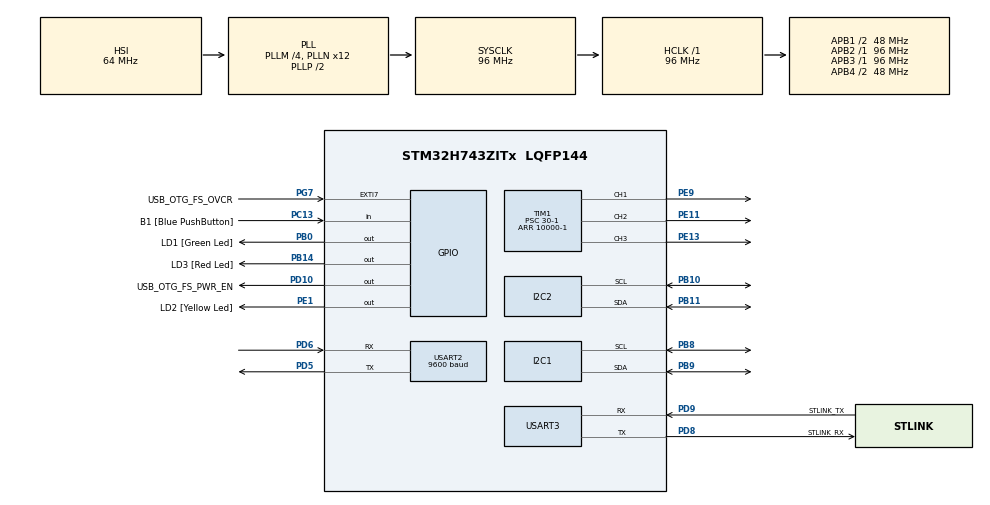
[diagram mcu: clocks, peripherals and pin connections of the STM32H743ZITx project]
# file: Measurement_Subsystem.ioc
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I2C1.Speed=100
I2C1.Timing=0x20303E5D
I2C2.Timing=0x20303E5D
Mcu.Family=STM32H7
Mcu.Name=STM32H743ZITx
Mcu.Package=LQFP144
NVIC.PriorityGroup=NVIC_PRIORITYGROUP_4
NVIC.TIM16_IRQn=true\:0\:0\:false\:false\:true\:true\:true\:true
NVIC.USART2_IRQn=true\:0\:0\:false\:false\:true\:true\:true\:true
PA1.Signal=ETH_REF_CLK
PA11.Signal=USB_OTG_FS_DM
PA12.Signal=USB_OTG_FS_DP
PA13\ (JTMS/SWDIO).GPIO_Label=JTMS
PA13\ (JTMS/SWDIO).Signal=DEBUG_JTMS-SWDIO
PA14\ (JTCK/SWCLK).GPIO_Label=JTCK
PA14\ (JTCK/SWCLK).Signal=DEBUG_JTCK-SWCLK
PA2.Signal=ETH_MDIO
PA7.Signal=ETH_CRS_DV
PA8.Signal=USB_OTG_FS_SOF
PA9.Signal=USB_OTG_FS_VBUS
PB0.GPIO_Label=LD1 [Green Led]
PB0.Signal=GPIO_Output
PB10.Mode=I2C
PB10.Signal=I2C2_SCL
PB11.Mode=I2C
PB11.Signal=I2C2_SDA
PB13.Signal=ETH_TXD1
PB14.GPIO_Label=LD3 [Red Led]
PB14.Signal=GPIO_Output
PB8.Mode=I2C
PB8.Signal=I2C1_SCL
PB9.Mode=I2C
PB9.Signal=I2C1_SDA
PC1.Signal=ETH_MDC
PC13.GPIO_Label=B1 [Blue PushButton]
PC13.Signal=GPIO_Input
PC14-OSC32_IN\ (OSC32_IN).Signal=RCC_OSC32_IN
PC15-OSC32_OUT\ (OSC32_OUT).Signal=RCC_OSC32_OUT
PC4.Signal=ETH_RXD0
PC5.Signal=ETH_RXD1
PD10.GPIO_Label=USB_OTG_FS_PWR_EN
PD10.Signal=GPIO_Output
PD12.Signal=I2C4_SCL
PD13.Signal=I2C4_SDA
PD5.Mode=Asynchronous
PD5.Signal=USART2_TX
PD6.Mode=Asynchronous
PD6.Signal=USART2_RX
PD8.GPIO_Label=STLINK_RX
PD8.Mode=Asynchronous
PD8.Signal=USART3_TX
PD9.GPIO_Label=STLINK_TX
PD9.Mode=Asynchronous
PD9.Signal=USART3_RX
PE1.GPIO_Label=LD2 [Yellow Led]
PE1.Signal=GPIO_Output
PE11.Signal=S_TIM1_CH2
PE13.Signal=S_TIM1_CH3
PE9.Signal=S_TIM1_CH1
PG11.Signal=ETH_TX_EN
PG13.Signal=ETH_TXD0
PG7.GPIO_Label=USB_OTG_FS_OVCR
PG7.Signal=GPXTI7
PH0-OSC_IN\ (PH0).Signal=RCC_OSC_IN
PH1-OSC_OUT\ (PH1).Signal=RCC_OSC_OUT
ProjectManager.HeapSize=0x200
ProjectManager.StackSize=0x400
ProjectManager.TargetToolchain=STM32CubeIDE
RCC.ADCFreq_Value=129000000
RCC.APB1Freq_Value=48000000
RCC.APB2Freq_Value=96000000
RCC.APB3Freq_Value=96000000
RCC.APB4Freq_Value=48000000
RCC.CortexFreq_Value=96000000
RCC.D2PPRE1=RCC_APB1_DIV2
RCC.D3PPRE=RCC_APB4_DIV2
RCC.DIVM1=4
RCC.DIVN1=12
RCC.HCLKFreq_Value=96000000
RCC.PLL2FRACN=0
RCC.PLL3FRACN=0
RCC.PLLFRACN=0
RCC.SYSCLKFreq_VALUE=96000000
RCC.SYSCLKSource=RCC_SYSCLKSOURCE_PLLCLK
RCC.USBFreq_Value=96000000
SH.S_TIM1_CH1.0=TIM1_CH1,PWM Generation1 CH1
SH.S_TIM1_CH2.0=TIM1_CH2,PWM Generation2 CH2
SH.S_TIM1_CH3.0=TIM1_CH3,PWM Generation3 CH3
TIM1.Channel-PWM\ Generation1\ CH1=TIM_CHANNEL_1
TIM1.Channel-PWM\ Generation2\ CH2=TIM_CHANNEL_2
TIM1.Channel-PWM\ Generation3\ CH3=TIM_CHANNEL_3
TIM1.Period=10000-1
TIM1.Prescaler=30-1
TIM16.Period=100-1
TIM16.Prescaler=9600-1
TIM17.Period=65536-1
TIM17.Prescaler=9600-1
TIM2.Period=10000-1
TIM2.Prescaler=96-1
USART2.BaudRate=9600
USART2.VirtualMode-Asynchronous=VM_ASYNC
USART3.VirtualMode-Asynchronous=VM_ASYNC
VP_TIM16_VS_ClockSourceINT.Mode=Enable_Timer
VP_TIM17_VS_ClockSourceINT.Mode=Enable_Timer
VP_TIM2_VS_ClockSourceINT.Mode=Internal
board=NUCLEO-H743ZI2

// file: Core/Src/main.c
/* USER CODE BEGIN Header */
/**
  ******************************************************************************
  * @file           : main.c
  * @brief          : Main program body
  ******************************************************************************
  * @attention
  *
  * Copyright (c) 2024 STMicroelectronics.
  * All rights reserved.
  *
  * This software is licensed under terms that can be found in the LICENSE file
  * in the root directory of this software component.
  * If no LICENSE file comes with this software, it is provided AS-IS.
  *
  ******************************************************************************
  */
/* USER CODE END Header */
#include "main.h"
#include "i2c.h"
#include "tim.h"
#include "usart.h"
#include "gpio.h"

/* USER CODE BEGIN Includes */
#include <string.h>
#include <stdio.h>
#include "LSM6DSOX.h" // for accelerometer and gyroscope sensor 0 -> on car
#include <math.h>
#include <stdlib.h>
/* USER CODE END Includes */

/* USER CODE BEGIN PV */
#define PI 3.141592654
#define g 9.807
float deg_to_rad = PI/180;
float rad_to_deg = 180/PI;

// Timer delays --------------------------------------------------------------
uint32_t PWM_counter = 0; // Timer 16
uint32_t prev_timer_val = 0; // Timer 17
uint32_t curr_timer_val = 0;
uint32_t timer_diff = 0;

// IMU variables -------------------------------------------------------------
float vals[6] = {0}; // IMU_1
float x_accIMU1 = 0;
float y_accIMU1 = 0;
float z_accIMU1 = 0;
float x_gyroIMU1 = 0;
float y_gyroIMU1 = 0;
float z_gyroIMU1 = 0;

float x_accIMU2 = 0;
float y_accIMU2 = 0;
float z_accIMU2 = 0;
float x_gyroIMU2 = 0;
float y_gyroIMU2 = 0;
float z_gyroIMU2 = 0;

// Filter variables ------------------------------------------------------------
// Initialization Magdwick
const float constantBiasRoll = 0; //1.0640; // deg/s
const float constantBiasPitch = 0; //0.8084; // deg/s
const float constantBiasYaw = 0; //1.1199; // deg/s

//float beta = 0.8660*(0.1)*(PI/180);  // <- maximum gyro error around 1 degree
const float beta = 0.5; //0.041; //0.164;
const float gravity = -9.807;

const float alpha = 0.96;
float prev_IMU1[3] = {0, 0, 0};
float prev_IMU2[3] = {0, 0, 0};

float theta_xIMU1 = 0;
float phi_yIMU1 = 0;
float psi_zIMU1 = 0;

float theta_xIMU2 = 0;
float phi_yIMU2 = 0;
float psi_zIMU2 = 0;

// Arrays
float A[3] = {0, 0, 0}; // Acceleration
float G[4] = {0, 0, 0, 0}; // Gyroscope
float Q[4] = {1, 0, 0, 0};

float attitude[3] = {0, 0, 0};
float F[3] = {0, 0, 0};
float J_1[3] = {0, 0, 0};
float J_2[3] = {0, 0, 0};
float J_3[3] = {0, 0, 0};
float J_4[3] = {0, 0, 0};
float step[4] = {0, 0, 0, 0};

float Q_int[4] = {0, 0, 0, 0}; // New Quaternion after integration
float qDot[4] = {0, 0, 0, 0}; // Multiplied
float car_forces[3] = {0, 0, 0};

volatile float car_roll_ySP = 0;
volatile float car_pitch_xSP = 0;
volatile float cup_roll_ySP = 0;
volatile float cup_pitch_xSP = 0;

float x_force = 0;
float y_force = 0;
float z_force = 0;

float car_pitch_xSP_copy = 0;
float car_roll_ySP_copy = 0;
float cup_pitch_xSP_copy = 0;
float cup_roll_ySP_copy = 0;

float cup_x_response = 0.0;
float cup_y_response = 0.0;

int flag_v1 = 0; // check if first round values are in yet

// PID variables -------------------------------------------------------------
float error_prev[2] = {0, 0};
float error[2] = {0, 0};
float integral[2] = {0, 0};
float derivative[2] = {0, 0};
float PID_output[2] = {0, 0};
float PID_output_prev[2] = {0, 0};
float alpha_f[2] = {0.18, 0.18}; // 0 <= a <= 1

// Adaptive PID ----------------------------------------------------------------
float prev_xSP = 0;
float prev_ySP = 0;
float delta_x = 0;
float delta_y = 0;

float KP_mid[2] = {5, 10}; // for alpha = 2.5
float KI_mid[2] = {0.7, 0.6};
float KD_mid[2] = {0.07, 0.08};

float KP[2] = {5, 5}; // for alpha = 2.5
float KI[2] = {0.5, 0.5};
float KD[2] = {0.05, 0.05};

// PP Controlller -------------------------------------------
float pitch_x_curr = 0.0;  // n_current = (0, 0, h) -> initial normal of system
float roll_y_curr = 0.0;
float alpha_PP[2] = {0.2, 0.2}; // 0 <= a <= 1
float PP[2] = {0, 0};
float K[2] = {-422.8500, 2.8640};
float Kdc = 0.5;

// Inverse Kinematics --------------------------------------------------------
const float r = 9; // cm -> rad plate = rad base
const float h = 13.2;
const float L1 = 15;
const float L2 = 7;

float A_p[3] = {0, 0, 0};
float B_p[3] = {0, 0, 0};
float C_p[3] = {0, 0, 0};

float A_r[3] = {0, 0, 0};
float B_r[3] = {0, 0, 0};
float C_r[3] = {0, 0, 0};

float A_mid = 0;
float B_mid = 0;
float C_mid = 0;
float D_mid = 0;
float E_mid = 0;
float angle = 0;

// Calculate norm -------------------------------------------------------------
float n_body[3] = {0, 0, 0};
float global[3] = {0, 0, 13.2}; // origin of plate
float n_m1[3] = {0, 0, 0};
float n_m2[3] = {0, 0, 0};
float n_m3[3] = {0, 0, 0};

int pitch_flag = 0; // for +ve and -ve pitch rotations
int roll_flag = 0; // for +ve and -ve roll rotations

// Actuate Motors ------------------------------------------------------------
float motorAngle[3] = {0, 0, 0};
float currentAngle[3] = {30, 30, 30}; // motors start at 25 degrees for initial position
float angleKin[3] = {0, 0, 0};
int PWMangle[3] = {2668, 2668, 2668}; //starting at 30 degrees

float angle_start = 30; // starting angle at 30 degrees from -13.729 degrees from horizon
float angle_prev[3] = {30, 30, 30};

// Blutooth module
uint8_t rxData[1];
float txData[6] = {0, 0, 0, 0, 0, 0}; // <- float = 4 bytes x 6 -> 24 bytes
int rxFlag = 0;
float PID_p_tx = 0;
float PID_r_tx = 0;

/* USER CODE END PV */

void SystemClock_Config(void);
/* USER CODE BEGIN PFP */
#ifdef __GNUC__
#define PUTCHAR_PROTOTYPE int __io_putchar(int ch)
#else
#define PUTCHAR_PROTOTYPE int fputc(int ch, FILE *f)
#endif

PUTCHAR_PROTOTYPE
{
  HAL_UART_Transmit(&huart3, (uint8_t *)&ch, 1, HAL_MAX_DELAY);
  return ch;
}

// My Functions
void CF_IMU1(float, float, float, float, float, float);
void CF_IMU2(float, float, float, float, float, float);
void OrientationEst1(void);
void OrientationEst2(void);
//void Transmit_CF_PC(void);
//void Magdwick(void);
//void Transmit_Mag_PC(void);

void PID(void);
void ActuateMotors(float, float);
float InvKinematics(int, float, float);
int FindPWM(float);
void CalcTime(void);
void GainScheduling(void);
//void PPController(void);

/* USER CODE END PFP */

int main(void)
{

  /* MCU Configuration--------------------------------------------------------*/

  /* Reset of all peripherals, Initializes the Flash interface and the Systick. */
  HAL_Init();

  /* Configure the system clock */
  SystemClock_Config();

  /* Initialize all configured peripherals */
  MX_GPIO_Init();
  MX_TIM2_Init();
  MX_TIM1_Init();
  MX_TIM16_Init();
  MX_TIM17_Init();
  MX_I2C2_Init();
  MX_I2C1_Init();
  MX_USART2_UART_Init();
  MX_USART3_UART_Init();
  /* USER CODE BEGIN 2 */
// Bluetooth module
  HAL_UART_Receive_IT(&huart2, (uint8_t*)rxData, 1); // enable ISR
  HAL_UART_Transmit_IT(&huart2, (uint8_t*)txData, 4*sizeof(txData)); // enabling interrupt transmit

  // IMU modules 1 and 2
  InitAccel_IMU1();
  InitAccel_IMU2();
  InitGyro_IMU1();
  InitGyro_IMU2();

  // Motors
  HAL_TIM_PWM_Start(&htim1, TIM_CHANNEL_1);
  HAL_TIM_PWM_Start(&htim1, TIM_CHANNEL_2);
  HAL_TIM_PWM_Start(&htim1, TIM_CHANNEL_3);

  // Initialise motors to 0
  __HAL_TIM_SET_COMPARE(&htim1, TIM_CHANNEL_1, 1600); // 0 degrees
  __HAL_TIM_SET_COMPARE(&htim1, TIM_CHANNEL_2, 1600); // 0 degrees
  __HAL_TIM_SET_COMPARE(&htim1, TIM_CHANNEL_3, 1600); // 0 degrees
  HAL_Delay(1000);

  // Initialise motors to 25 degrees if not at 25 already
  __HAL_TIM_SET_COMPARE(&htim1, TIM_CHANNEL_1, 2490); // 25 degrees
  __HAL_TIM_SET_COMPARE(&htim1, TIM_CHANNEL_2, 2490); // 25 degrees
  __HAL_TIM_SET_COMPARE(&htim1, TIM_CHANNEL_3, 2490); // 25 degrees
  HAL_Delay(1000);

  // Start timers
  HAL_TIM_Base_Start_IT(&htim16); // starts interrupt PWM timer
  HAL_TIM_Base_Start(&htim17); // starts integral counter

// Set PWM for each channel -> set motors all to 25 degrees
  PWM_counter = 0; // set PWMcounter for loop = 0
  /* USER CODE END 2 */

  /* Infinite loop */
  /* USER CODE BEGIN WHILE */

  while (1)
  {
	  // check if data has been received to start transmission via Blutooth
	  if (rxData[0] == 's'){
		  rxFlag = 1;
	  }
	  if (rxFlag == 1){
		  uint8_t *data = (uint8_t*)&txData;
		  HAL_UART_Transmit_IT(&huart2, data, 6*sizeof(float));
	  }

	  // Atomic block to access ISR variable
	  // Update variables
	  car_pitch_xSP_copy = car_pitch_xSP;
	  car_roll_ySP_copy = car_roll_ySP;
	  x_force = x_accIMU2;
	  y_force = y_accIMU2;
//	  Transmit_CF_PC();

	  car_pitch_xSP_copy = 4*car_pitch_xSP_copy;
	  car_roll_ySP_copy = 4*car_roll_ySP_copy;

	  GainScheduling();
	  PID();
    /* USER CODE END WHILE */

  }
}

void SystemClock_Config(void)
{
  RCC_OscInitTypeDef RCC_OscInitStruct = {0};
  RCC_ClkInitTypeDef RCC_ClkInitStruct = {0};

  /** Supply configuration update enable
  */
  HAL_PWREx_ConfigSupply(PWR_LDO_SUPPLY);

  /** Configure the main internal regulator output voltage
  */
  __HAL_PWR_VOLTAGESCALING_CONFIG(PWR_REGULATOR_VOLTAGE_SCALE3);

  while(!__HAL_PWR_GET_FLAG(PWR_FLAG_VOSRDY)) {}

  /** Initializes the RCC Oscillators according to the specified parameters
  * in the RCC_OscInitTypeDef structure.
  */
  RCC_OscInitStruct.OscillatorType = RCC_OSCILLATORTYPE_HSI;
  RCC_OscInitStruct.HSIState = RCC_HSI_DIV1;
  RCC_OscInitStruct.HSICalibrationValue = RCC_HSICALIBRATION_DEFAULT;
  RCC_OscInitStruct.PLL.PLLState = RCC_PLL_ON;
  RCC_OscInitStruct.PLL.PLLSource = RCC_PLLSOURCE_HSI;
  RCC_OscInitStruct.PLL.PLLM = 4;
  RCC_OscInitStruct.PLL.PLLN = 12;
  RCC_OscInitStruct.PLL.PLLP = 2;
  RCC_OscInitStruct.PLL.PLLQ = 2;
  RCC_OscInitStruct.PLL.PLLR = 2;
  RCC_OscInitStruct.PLL.PLLRGE = RCC_PLL1VCIRANGE_3;
  RCC_OscInitStruct.PLL.PLLVCOSEL = RCC_PLL1VCOWIDE;
  RCC_OscInitStruct.PLL.PLLFRACN = 0;
  if (HAL_RCC_OscConfig(&RCC_OscInitStruct) != HAL_OK)
  {
    Error_Handler();
  }

  /** Initializes the CPU, AHB and APB buses clocks
  */
  RCC_ClkInitStruct.ClockType = RCC_CLOCKTYPE_HCLK|RCC_CLOCKTYPE_SYSCLK
                              |RCC_CLOCKTYPE_PCLK1|RCC_CLOCKTYPE_PCLK2
                              |RCC_CLOCKTYPE_D3PCLK1|RCC_CLOCKTYPE_D1PCLK1;
  RCC_ClkInitStruct.SYSCLKSource = RCC_SYSCLKSOURCE_PLLCLK;
  RCC_ClkInitStruct.SYSCLKDivider = RCC_SYSCLK_DIV1;
  RCC_ClkInitStruct.AHBCLKDivider = RCC_HCLK_DIV1;
  RCC_ClkInitStruct.APB3CLKDivider = RCC_APB3_DIV1;
  RCC_ClkInitStruct.APB1CLKDivider = RCC_APB1_DIV2;
  RCC_ClkInitStruct.APB2CLKDivider = RCC_APB2_DIV1;
  RCC_ClkInitStruct.APB4CLKDivider = RCC_APB4_DIV2;

  if (HAL_RCC_ClockConfig(&RCC_ClkInitStruct, FLASH_LATENCY_2) != HAL_OK)
  {
    Error_Handler();
  }
}

/* USER CODE BEGIN 4 */
// Controller code functions --------------------------------------------------------------------
void GainScheduling(){
	delta_x = sqrt(car_pitch_xSP_copy*car_pitch_xSP_copy) - sqrt(prev_xSP*prev_xSP);
	delta_y = sqrt(car_roll_ySP_copy*car_roll_ySP_copy) - sqrt(prev_ySP*prev_ySP);

	delta_x = sqrt(delta_x*delta_x);
	delta_y = sqrt(delta_y*delta_y);
	for (int i = 0; i < 2; i++){
		if(i == 0){
			KP[i] = KP_mid[i];
//			if (delta_x < 2) { // Gain scheduling for bigger errors
//				KP[i] = 0.8*KP_mid[i];
//			}
//			else if ((delta_x >= 2) && (delta_x < 4)){ // Gain scheduling for bigger errors
//				KP[i] = 1.1*KP_mid[i];
//			}
//			else if ((delta_x >= 4) && (delta_x < 6)){ // Gain scheduling for bigger errors
//				KP[i] = 1.3*KP_mid[i];
//			}
//			else if ((delta_x >= 6) && (delta_x < 8)){ // Gain scheduling for bigger errors
//				KP[i] = 1.5*KP_mid[i];
//			}
//			else if ((delta_x >= 8) && (delta_x < 10)){ // Gain scheduling for bigger errors
//				KP[i] = 1.7*KP_mid[i];
//			}
//			else if (delta_x >= 10){
//				KP[i] = 1.9*KP_mid[i];
//			}
		}
		if(i == 1){
			KP[i] = KP_mid[i];

//			if (delta_y < 2) { // Gain scheduling for bigger errors
//				KP[i] = 0.8*KP_mid[i];
//			}
//			else if ((delta_y >= 2) && (delta_y < 4)){ // Gain scheduling for bigger errors
//				KP[i] = 1.1*KP_mid[i];
//			}
//			else if ((delta_y >= 4) && (delta_y < 6)){ // Gain scheduling for bigger errors
//				KP[i] = 1.3*KP_mid[i];
//			}
//			else if ((delta_y >= 6) && (delta_y < 8)){ // Gain scheduling for bigger errors
//				KP[i] = 1.5*KP_mid[i];
//			}
//			else if ((delta_y >= 8) && (delta_y < 10)){ // Gain scheduling for bigger errors
//				KP[i] = 1.7*KP_mid[i];
//			}
//			else if (delta_y>= 10){
//				KP[i] = 1.9*KP_mid[i];
//			}
		}
	}
}

void PID(){
	// Becomes new setpoint for platform // Control system tracks changes roll and pitch
	for (int i = 0; i < 2; i++){
		error_prev[i] = error[i];
		if (i == 0){
			error[i] = car_pitch_xSP_copy - pitch_x_curr; // angle error in x
		}
		if (i == 1){
			error[i] = car_roll_ySP_copy - roll_y_curr; // angle error in y
		}

		if (isnan(error[i])){
			error[i] = 0;
		}

		CalcTime();
		integral[i] += error[i]*((float)timer_diff/10000);
		derivative[i] = (error[i] - error_prev[i])/((float)timer_diff/10000);
		PID_output[i] = KP[i]*error[i] + KI[i]*integral[i] + KD[i]*derivative[i];

		// Account for NAN
		if (isnan(PID_output[i])){
			PID_output[i] = 0;
		}

		// Smoothing filter for motors
		PID_output[i] = (alpha_f[i]*PID_output[i]) + (1.0 - alpha_f[i])*PID_output_prev[i];

		// Update values
		PID_output_prev[i] = PID_output[i];
	}
	PID_p_tx = PID_output[0]; // pitch
	PID_r_tx = PID_output[1];

	// Check if angle error -ve
	if (PID_output[0] < 0){
		PID_output[0] = -PID_output[0]; // make positive
		pitch_flag = 1; // negative error
	}

	if (PID_output[1] < 0){
			PID_output[1] = -PID_output[1]; // make positive
			roll_flag = 1;
	}

	ActuateMotors(PID_output[0], PID_output[1]); // angle setpoint
	// Then need to compare outputs
	// update current position of cup

	cup_pitch_xSP_copy = cup_pitch_xSP;
	cup_roll_ySP_copy = cup_roll_ySP;

//	pitch_x_curr = cup_pitch_xSP_copy;
//	roll_y_curr = cup_roll_ySP_copy;

	// Update PID current values
	pitch_x_curr = car_pitch_xSP_copy;
	roll_y_curr = car_roll_ySP_copy;

	// update FF controller
	prev_xSP = car_pitch_xSP_copy;
	prev_ySP = car_roll_ySP_copy;

	PWM_counter = 0;
}

// Subfunctions of PID ---------------------------------------------------------
void ActuateMotors(float x_angle, float y_angle){
	// Testing
//	x_angle = 30;
//	y_angle = 30;

	// Convert to degrees
	x_angle = x_angle*deg_to_rad;
	y_angle = y_angle*deg_to_rad;

	if (isnan(x_angle)){ // check for error
		x_angle = 0;
	}

	if (isnan(y_angle)){ // check for error
		y_angle = 0;
	}

	// Cap max angles
	if (x_angle > 62){
		x_angle = 62;
	}
	if (y_angle > 65){
		y_angle = 65;
	}

	for(int i = 0; i < 3; i ++){
		angleKin[i] = InvKinematics(i, x_angle, y_angle); // return positive angle
		if (i == 0){ // Motor 1 -> pitch motor (+x, 0)
			if (pitch_flag == 1){ // pitch -ve
				motorAngle[0] = currentAngle[0] + angleKin[0]; // - for control
				pitch_flag = 0; // reset pitch flag
//				currentAngle[0] = motorAngle[0]; // new angle set point
			}
			else { // pitch +ve
				motorAngle[0] = currentAngle[0] - angleKin[0]; // + fr control
//				currentAngle[0] = motorAngle[0];
			}
		}

		if (i == 1){ // Motor 2 -> roll motor (-x, -y)
			if (roll_flag == 1){ // roll -ve
				motorAngle[1] = currentAngle[1] - angleKin[1]; // -> opposite motor 3 // + for control
//				currentAngle[1] = motorAngle[1];
			}
			else { // pitch +ve
				motorAngle[1] = currentAngle[1] + angleKin[1]; // - for control
//				currentAngle[1] = motorAngle[1];
			}
		}

		if (i == 2){ // Motor 3 -> roll motor (-x, +y)
			if (roll_flag == 1){ // roll -ve
				motorAngle[2] = currentAngle[2] + angleKin[2]; // -> opposite motor 2
				roll_flag = 0; // reset roll flag
//				currentAngle[2] = motorAngle[2];
			}
			else { // pitch +ve
				motorAngle[2] = currentAngle[2] - angleKin[2];
//				currentAngle[2] = motorAngle[2];
			}
		}
		// theta[i] = 0.05*motorAngle[i] + 0.95*angle_prev[i]; // cubic equation
		//angle_prev[i] = theta[i];

		PWMangle[i] = FindPWM(motorAngle[i]);
		if (PWMangle[i] < 1650){ // min
			PWMangle[i] = 1650; // make 0
		}

		if (PWMangle[i] > 4626){ // max
			PWMangle[i] = 4626; // make 88
		}
	}

	// Set PWM for each channel
	// computeSpeed -> do accel calcs
	// save starting time

	while (PWM_counter < 9){
		__HAL_TIM_SET_COMPARE(&htim1, TIM_CHANNEL_1, PWMangle[0]); // PE9 -> Motor 1
		__HAL_TIM_SET_COMPARE(&htim1, TIM_CHANNEL_2, PWMangle[1]); // PE11 -> Motor 2
		__HAL_TIM_SET_COMPARE(&htim1, TIM_CHANNEL_3, PWMangle[2]); // PE13 -> Motor 3
	}
}

// starting angle = 30 -> 2668
// maximum angle = 85 -> 4626
// minimum angle = 0 -> 1600
int FindPWM(float angle_in){
	return (int)(1600 + angle_in*35.6); // conversion to PWM with 320 Hz and 180 degree range
}

float InvKinematics(int motor, float theta_pitch, float phi_roll){
	// Calculate inverse kinematics equations here

	// Roll-pitch-roll transform
	// float psi_yaw = 0;
	// body[0] = global[0]*cos(psi_yaw)*cos(theta_pitch) + global[1]*sin(psi_yaw)*cos(theta_pitch) - global[2]*sin(theta_pitch);
	// body[1] = global[1]*(cos(psi_yaw)*sin(theta_pitch)*sin(phi_roll) - sin(psi_yaw)*cos(phi_roll)) + global[1]*(sin(psi_yaw)*sin(theta_pitch)*sin(phi_roll) + cos(psi_yaw)*cos(phi_roll)) + global[2]*cos(theta_pitch)*sin(phi_roll);
	// body[2] = global[2]*(cos(psi_yaw)*sin(theta_pitch)*sin(phi_roll) + sin(psi_yaw)*sin(phi_roll)) + global[1]*(sin(psi_yaw)*sin(theta_pitch)*cos(phi_roll) - cos(psi_yaw)*sin(phi_roll)) + global[2]*cos(theta_pitch)*cos(phi_roll);

	switch(motor){
		case 0:
			// Motor 1 -> pitch
			// Calc norm
			n_m1[0] = global[0]*cos(theta_pitch) - global[2]*sin(theta_pitch);
			n_m1[1] = 0;
			n_m1[2] = global[0]*sin(theta_pitch) + global[2]*cos(theta_pitch);

			// Find leg orientation in space ito x, y, z
			A_p[0] = r*n_m1[2]/sqrt(n_m1[0]*n_m1[0] + n_m1[2]*n_m1[2]);
			A_p[2] = h - (n_m1[0]*r)/sqrt(n_m1[2]*n_m1[2] + n_m1[0]*n_m1[0]);
			A_p[1] = 0;

			// Find orientation of revolute joint between 2 legs in space
			A_mid = (r - A_p[0])/A_p[2];
			B_mid = (A_p[0]*A_p[0] + A_p[2]*A_p[2] + L2*L2 - L1*L1 - r*r)/(2*A_p[2]);
			C_mid = A_mid*A_mid + 1;
			D_mid = 2*(A_mid*B_mid - r);
			E_mid = B_mid*B_mid + r*r - L2*L2;

			A_r[0] = (-D_mid + sqrt(D_mid*D_mid - 4*C_mid*E_mid))/(2*C_mid);
			A_r[1] = 0;
			A_r[2] = sqrt(L2*L2 - A_r[0]*A_r[0] + 2*A_r[0]*r - r*r);

			// Find angle to be rotated by servos
			angle = atan(A_r[2]/(A_r[0]-r))*rad_to_deg;
			if (isnan(angle)){ // check for error
				angle = 90;
			}

			break;

		case 1:
			// Motor 2 -> roll 1
			n_m2[0] = global[0];
			n_m2[1] = global[1]*cos(phi_roll/2) + global[2]*sin(phi_roll);
			n_m2[2] = -global[1]*sin(phi_roll/2) + global[2]*cos(phi_roll);

			B_p[0] = -(r*n_m2[2])/(sqrt(n_m2[0]*n_m2[0] + 3*n_m2[1]*n_m2[1] + 4*n_m2[2]*n_m2[2] + 2*sqrt(3)*n_m2[0]*n_m2[1]));
			B_p[1] = -(sqrt(3)*r*n_m2[2])/(sqrt(n_m2[0]*n_m2[0] + 3*n_m2[1]*n_m2[1] + 4*n_m2[2]*n_m2[2] + 2*sqrt(3)*n_m2[0]*n_m2[1]));
			B_p[2] = h + (r*(sqrt(3)*n_m2[1] + n_m2[0])/(sqrt(n_m2[0]*n_m2[0] + 3*n_m2[1]*n_m2[1] + 4*n_m2[2]*n_m2[2] + 2*sqrt(3)*n_m2[0]*n_m2[1])));

			A_mid = -(B_p[0] + sqrt(3)*B_p[1] + 2*r)/B_p[2];
			B_mid = (B_p[0]*B_p[0] + B_p[1]*B_p[1] + B_p[2]*B_p[2] + L2*L2 - L1*L1 - r*r)/(2*B_p[2]);
			C_mid = A_mid*A_mid + 4;
			D_mid = 2*A_mid*B_mid + 4*r;
			E_mid = B_mid*B_mid - L2*L2 + r*r;

			B_r[0] = (-D_mid - sqrt(D_mid*D_mid - 4*C_mid*E_mid))/(2*C_mid);
			B_r[1] = sqrt(3)*B_r[0];
			B_r[2] = sqrt(L2*L2 - 4*r*B_r[0] - 4*B_r[0]*B_r[0] - r*r);

			angle = atan(B_r[2]/(sqrt(B_r[0]*B_r[0] + B_r[1]*B_r[1]) - r))*rad_to_deg;
			if (isnan(angle)){
				angle = 90;
			}

			angle = angle/2;
			break;

		case 2:
			// Motor 3 -> roll 2
			n_m3[0] = global[0];
			n_m3[1] = global[1]*cos(phi_roll/2) + global[2]*sin(phi_roll);
			n_m3[2] = -global[1]*sin(phi_roll/2) + global[2]*cos(phi_roll);

			C_p[0] = -(r*n_m3[2])/(sqrt(n_m3[0]*n_m3[0] + 3*n_m3[1]*n_m3[1] + 4*n_m3[2]*n_m3[2] - 2*sqrt(3)*n_m3[0]*n_m3[1]));
			C_p[1] = (sqrt(3)*r*n_m3[2])/(sqrt(n_m3[0]*n_m3[0] + 3*n_m3[1]*n_m3[1] + 4*n_m3[2]*n_m3[2] - 2*sqrt(3)*n_m3[0]*n_m3[1]));
			C_p[2] = h - (r*(-sqrt(3)*n_m3[1] + n_m3[0])/(sqrt(n_m3[0]*n_m3[0] + 3*n_m3[1]*n_m3[1] + 4*n_m3[2]*n_m3[2] - 2*sqrt(3)*n_m3[0]*n_m3[1])));

			A_mid = -(C_p[0] - sqrt(3)*C_p[1] + 2*r)/C_p[2];
			B_mid = (C_p[0]*C_p[0] + C_p[1]*C_p[1] + C_p[2]*C_p[2] + L2*L2 - L1*L1 - r*r)/(2*C_p[2]);
			C_mid = A_mid*A_mid + 4;
			D_mid = 2*A_mid*B_mid + 4*r;
			E_mid = B_mid*B_mid - L2*L2 + r*r;

			C_r[0] = (-D_mid - sqrt(D_mid*D_mid - 4*C_mid*E_mid))/(2*C_mid);
			C_r[1] = -sqrt(3)*C_r[0];
			C_r[2] = sqrt(L2*L2 - 4*r*C_r[0] - 4*C_r[0]*C_r[0] - r*r);

			angle = atan(C_r[2]/(sqrt(C_r[0]*C_r[0] + C_r[1]*C_r[1]) - r))*rad_to_deg;
			if (isnan(angle)){
				angle = 90;
			}

			angle = angle/2;
			break;

		default: // in case of an error
			angle = 0;
			break;
	}
	return angle;
}

void CF_IMU1(float x_a1, float y_a1, float z_a1, float x_g1, float y_g1, float z_g1){
	A[0] = atan((y_a1*gravity)/(z_a1*gravity));
	A[1] = atan((-x_a1*gravity)/sqrt(pow((y_a1*gravity), 2) + pow((z_a1*gravity), 2)));
	A[2] = 0; // g

	G[0] = prev_IMU1[0] + ((x_g1*(deg_to_rad))/416); // /416
	G[1] = prev_IMU1[1] + ((y_g1*(deg_to_rad))/416);
	G[2] = prev_IMU1[2] + ((z_g1*(deg_to_rad))/416);

	theta_xIMU1 = alpha*G[0] + (1-alpha)*A[0];
	phi_yIMU1 = alpha*G[1] + (1-alpha)*A[1];
	psi_zIMU1 = alpha*G[2] + (1-alpha)*A[2];

	prev_IMU1[0] = theta_xIMU1;
	prev_IMU1[1] = phi_yIMU1;
	prev_IMU1[2] = psi_zIMU1;
}

void CF_IMU2(float x_a2, float y_a2, float z_a2, float x_g2, float y_g2, float z_g2){
	A[0] = atan((y_a2*gravity)/(z_a2*gravity));
	A[1] = atan((-x_a2*gravity)/sqrt(pow((y_a2*gravity), 2) + pow((z_a2*gravity), 2)));
	A[2] = 0; // g

	G[0] = prev_IMU2[0] + ((x_g2*(deg_to_rad))/416);
	G[1] = prev_IMU2[1] + ((y_g2*(deg_to_rad))/416);
	G[2] = prev_IMU2[2] + ((z_g2*(deg_to_rad))/416);

	theta_xIMU2 = alpha*G[0] + (1-alpha)*A[0];
	phi_yIMU2 = alpha*G[1] + (1-alpha)*A[1];
	psi_zIMU2 = alpha*G[2] + (1-alpha)*A[2];

	prev_IMU2[0] = theta_xIMU2;
	prev_IMU2[1] = phi_yIMU2;
	prev_IMU2[2] = psi_zIMU2;
}

void OrientationEst1(){
	LSM6DSOX_readIMU1(vals); // get values from LSM6DSOX gyro and accel <- cup
	x_accIMU1 = vals[0];
	y_accIMU1 = vals[1];
	z_accIMU1 = vals[2]; // g

	x_gyroIMU1 = vals[3];
	y_gyroIMU1 = vals[4];
	z_gyroIMU1 = vals[5]; // dps

	CF_IMU1(x_accIMU1, y_accIMU1, z_accIMU1, x_gyroIMU1, y_gyroIMU1, z_gyroIMU1);
	cup_pitch_xSP = theta_xIMU1*rad_to_deg;
	cup_roll_ySP = phi_yIMU1*rad_to_deg;
}

void OrientationEst2(){
	LSM6DSOX_readIMU2(vals); // get values from LSM6DSOX gyro and accel <- car
	x_accIMU2 = vals[0];
	y_accIMU2 = vals[1];
	z_accIMU2 = vals[2]; // g

	x_gyroIMU2 = vals[3];
	y_gyroIMU2 = vals[4];
	z_gyroIMU2 = vals[5]; // dps

	CF_IMU2(x_accIMU2, y_accIMU2, z_accIMU2, x_gyroIMU2, y_gyroIMU2, z_gyroIMU2); // get orientation from comp filter
	car_pitch_xSP = theta_xIMU2*rad_to_deg;
	car_roll_ySP = phi_yIMU2*rad_to_deg;
}

// ----------------------------------------------------------------------------------------------
// Timer Callbacks
void HAL_TIM_PeriodElapsedCallback(TIM_HandleTypeDef *htim){
	if (htim->Instance == TIM16) { // only PWM timer for motor delays
		PWM_counter++; // 10 ms -> (1/96 MHz)*9600*100
		OrientationEst1();
		OrientationEst2();

		// Update data for transmission
		txData[0] = car_pitch_xSP;
		txData[1] = car_roll_ySP;
		txData[2] = cup_pitch_xSP;
		txData[3] = cup_roll_ySP;
		txData[4] = x_force; //PID_p_tx; //
		txData[5] = y_force; //PID_r_tx; //;
	}
}

void CalcTime(){  // integral and derivative timer for PID
	curr_timer_val = __HAL_TIM_GET_COUNTER(&htim17); // 100 microseconds counter

	if (curr_timer_val > prev_timer_val){ // in microseconds
		timer_diff = curr_timer_val - prev_timer_val;
	}
	else if (curr_timer_val < prev_timer_val){ // buffer overflow
		timer_diff = (65535 - prev_timer_val) + curr_timer_val;
	}
	prev_timer_val = curr_timer_val;
}

void HAL_UART_TxCpltCallBack(UART_HandleTypeDef *huart){
	if (huart -> Instance == USART2){
		HAL_UART_Transmit_IT(&huart2, (const uint8_t*)txData, 6*sizeof(txData)); // enable transmit again
	}
}

//// ----------------------------------------------------------------------------------------------
//// Other code functions for debugging
//
//void FF(){
//	// Averaging function
//	x_acc_average[0] = x_force*gravity;
//	x_filtered = (x_acc_average[0] + x_acc_average[1] + x_acc_average[2] + x_acc_average[3] + x_acc_average[4] + x_acc_average[5] + x_acc_average[6] + x_acc_average[7])/(8);
//	for (int i = 7; i > 0; i --){
//		x_acc_average[i] = x_acc_average[i - 1];
//	}
//
//	y_acc_average[0] = y_force*gravity;
//	y_filtered = (y_acc_average[0] + y_acc_average[1] + y_acc_average[2] + y_acc_average[3] + y_acc_average[4] + y_acc_average[5] + y_acc_average[6] + y_acc_average[7])/(8);
//	for (int i = 7; i > 0; i --){
//		y_acc_average[i] = y_acc_average[i - 1];
//	}
//
//	if (flag_v1 == 0){
//		z_acc_average[0] = (0)*gravity;
//		flag_v1 = 1;
//	}
//	else{
//		z_acc_average[0] = (z_force - 1)*gravity;
//	}
//	z_filtered = (z_acc_average[0] + z_acc_average[1] + z_acc_average[2] + z_acc_average[3] + z_acc_average[4] + z_acc_average[5] + z_acc_average[6] + z_acc_average[7])/(8);
//	for (int i = 7; i > 0; i --){
//		z_acc_average[i] = z_acc_average[i - 1];
//	}
//
//	pitch_tilt_ang = atan(x_filtered/(g + z_filtered))*rad_to_deg;
//	roll_tilt_ang = atan(y_filtered/(g + z_filtered))*rad_to_deg;
//}

//void PPController(){
//	MotorTime();
//	for (int i = 0; i < 2; i++){
//		if (i == 0){
//			velocity[i] = (car_pitch_xSP_copy - prev_xSP)/motor_curr_timer;
//
//			if (isnan(velocity[i])){
//				velocity[i] = 0;
//			}
//
//			velocity[i] = (alpha_PP[i]*velocity[i]) + (1.0 - alpha_PP[i])*velocity_prev[i];
//			PP[i] = -K[0]*car_pitch_xSP_copy - K[1]*velocity[i] + Kdc*(car_pitch_xSP_copy);
//		}
//		else {
//			velocity[i] = (car_roll_ySP_copy - prev_ySP)/motor_curr_timer;
//
//			if (isnan(velocity[i])){
//				velocity[i] = 0;
//			}
//
//			velocity[i] = (alpha_PP[i]*velocity[i]) + (1.0 - alpha_PP[i])*velocity_prev[i];
//			PP[i] = -K[0]*car_pitch_xSP_copy - K[1]*velocity[i] + Kdc*(car_pitch_xSP_copy);
//
//		}
//
//		velocity_prev[i] = velocity[i];
//		prev_xSP = car_pitch_xSP_copy;
//		prev_ySP = car_roll_ySP_copy;
//	}
//
//	if (PP[0] < 0){
//		PP[0] = -PP[0]; // make positive
//		pitch_flag = 1; // negative error
//	}
//
//	if (PP[1] < 0){
//		PP[1] = -PP[1]; // make positive
//		roll_flag = 1;
//	}
//
//	ActuateMotors(PP[0], PP[1]); // angle setpoint
//	cup_pitch_xSP_copy = cup_pitch_xSP;
//	cup_roll_ySP_copy = cup_roll_ySP;
//	PWM_counter = 0;
//
//}
//
//
// Transmits theta_x, phi_y, psi_z of comp filter to computer for verification
//void Transmit_CF_PC(){
////	theta_xIMU1 = theta_xIMU1*rad_to_deg;
////	phi_yIMU1 = phi_yIMU1*rad_to_deg;
////	psi_zIMU1 = psi_zIMU1*rad_to_deg;
////
////	theta_xIMU2 = theta_xIMU2*rad_to_deg;
////	phi_yIMU2 = phi_yIMU2*rad_to_deg;
////	psi_zIMU2 = psi_zIMU2*rad_to_deg;
////
////	printf("%E", phi_yIMU1); // Phi // roll
////	printf(",");
////	printf("%E", theta_xIMU1); // Theta // pitch
////	printf(",");
////	printf("%E", psi_zIMU1); // Psi
////	printf(",");
////	printf("%E", phi_yIMU2); // Phi // roll
////	printf(",");
////	printf("%E", theta_xIMU2); // Theta // pitch
////	printf(",");
////	printf("%E\n", psi_zIMU2); // Psi
//
////	printf("%E", cup_roll_ySP); // Phi // roll
////	printf(",");
////	printf("%E", cup_pitch_xSP); // Theta // pitch
////	printf(",");
//	printf("%E", car_roll_ySP); // Phi // roll
//	printf(",");
//	printf("%E\n", car_pitch_xSP); // Theta // pitch
//}
//
//
//// Performs Magdwick cals for filter
//void Magdwick(){
//	A[0] = x_accIMU1;
//	A[1] = y_accIMU1;
//	A[2] = z_accIMU1; // g
//
//	G[0] = 0;
//	G[1] = x_gyroIMU1*deg_to_rad;
//	G[2] = y_gyroIMU1*deg_to_rad;
//	G[3] = z_accIMU1*deg_to_rad; // rad/s
//
//	// F-matrix
//	F[0] = 2*(Q[1]*Q[3] - Q[0]*Q[2]) - A[0];
//	F[1] = 2*(Q[0]*Q[1] + Q[2]*Q[3]) - A[1];
//	F[2] = 2*(0.5 - pow(Q[1], 2) - pow(Q[2], 2)) - A[2];
//
//	// J-matrix
//	J_1[0] = -2*Q[2];
//	J_1[1] = 2*Q[1];
//	J_1[2] = 0;
//
//	J_2[0] = 2*Q[3];
//	J_2[1] = 2*Q[0];
//	J_2[2] = -4*Q[1];
//
//	J_3[0] = -2*Q[0];
//	J_3[1] = 2*Q[3];
//	J_3[2] = -4*Q[2];
//
//	J_4[0] = 2*Q[1];
//	J_4[1] = 2*Q[2];
//	J_4[2] = 0;
//
//	// step = J'*F
//	step[0] = J_1[0]*F[0] + J_1[1]*F[1] + J_1[2]*F[2];
//	step[1] = J_2[0]*F[0] + J_2[1]*F[1] + J_2[2]*F[2];
//	step[2] = J_3[0]*F[0] + J_3[1]*F[1] + J_3[2]*F[2];
//	step[3] = J_4[0]*F[0] + J_4[1]*F[1] + J_4[2]*F[2];
//
//	// normalise step size
//	step[0] = step[0]/(sqrt(pow(step[0], 2) + pow(step[1], 2) + pow(step[2], 2) + pow(step[3], 2)));
//	step[1] = step[1]/(sqrt(pow(step[0], 2) + pow(step[1], 2) + pow(step[2], 2) + pow(step[3], 2)));
//	step[2] = step[2]/(sqrt(pow(step[0], 2) + pow(step[1], 2) + pow(step[2], 2) + pow(step[3], 2)));
//	step[3] = step[3]/(sqrt(pow(step[0], 2) + pow(step[1], 2) + pow(step[2], 2) + pow(step[3], 2)));
//
//	// Fusion algorithm
//	// qDot = 0.5*quatmultiply([q0 q1 q2 q3],[0 gyro(1) gyro(2) gyro(3)]) - B*step';
//	qDot[0] = 0.5*(G[0]*Q[0] - G[1]*Q[1] - G[2]*Q[2] - G[3]*Q[3]) - beta*step[0];
//	qDot[1] = 0.5*(G[0]*Q[1] + G[1]*Q[0] - G[2]*Q[3] + G[3]*Q[2]) - beta*step[1];
//	qDot[2] = 0.5*(G[0]*Q[2] + G[1]*Q[3] + G[2]*Q[0] - G[3]*Q[1]) - beta*step[2];
//	qDot[3] = 0.5*(G[0]*Q[3] - G[1]*Q[2] + G[2]*Q[1] + G[3]*Q[0]) - beta*step[3];
//
//	// New quaternion estimate
//	Q[0] = Q[0] + (qDot[0]/416); // Fs = 416 Hz
//	Q[1] = Q[1] + (qDot[1]/416);
//	Q[2] = Q[2] + (qDot[2]/416);
//	Q[3] = Q[3] + (qDot[3]/416);
//
//	// Normalise result
//	Q[0] = Q[0]/(sqrt(pow(Q[0], 2) + pow(Q[1], 2) + pow(Q[2], 2) + pow(Q[3], 2)));
//	Q[1] = Q[1]/(sqrt(pow(Q[0], 2) + pow(Q[1], 2) + pow(Q[2], 2) + pow(Q[3], 2)));
//	Q[2] = Q[2]/(sqrt(pow(Q[0], 2) + pow(Q[1], 2) + pow(Q[2], 2) + pow(Q[3], 2)));
//	Q[3] = Q[3]/(sqrt(pow(Q[0], 2) + pow(Q[1], 2) + pow(Q[2], 2) + pow(Q[3], 2)));
//
//}
//
//// Transmits theta_x, phi_y, psi_z of Magdwick to computer for verification
//void Transmit_Mag_PC(){
////	char identifierA = 'A';
////	sprintf((char*)send, "%c, %.2f, %.2f,%.2f\n", identifierA, theta_x, phi_y, psi_z);
//	//UART_RETURN_STATUS = HAL_UART_Transmit(&huart1, send, strlen(send), HAL_MAX_DELAY);
//	// Printing to console on uart3
//	theta_xIMU1 = (asin(-2*(Q[1])*Q[2] - Q[0]*Q[2]))*rad_to_deg;
//	phi_yIMU1 = (atan(2*(Q[0]*Q[1] + Q[2]*Q[3])/(pow(Q[0], 2) - pow(Q[1], 2) - pow(Q[2], 2) + pow(Q[3], 2))))*rad_to_deg;
//	psi_zIMU1 = (atan(2*(Q[0]*Q[3] + Q[1]*Q[2])/(pow(Q[0], 2) + pow(Q[1], 2) - pow(Q[2], 2) - pow(Q[3], 2))))*rad_to_deg;
//
//	printf("%E\n", phi_yIMU1); // Theta
//	printf("%E\n", theta_xIMU1); // Phi
//	printf("%E\n", psi_zIMU1); // Psi
//}

/* USER CODE END 4 */

void Error_Handler(void)
{
  __disable_irq();
  while (1)
  {
  }
}
